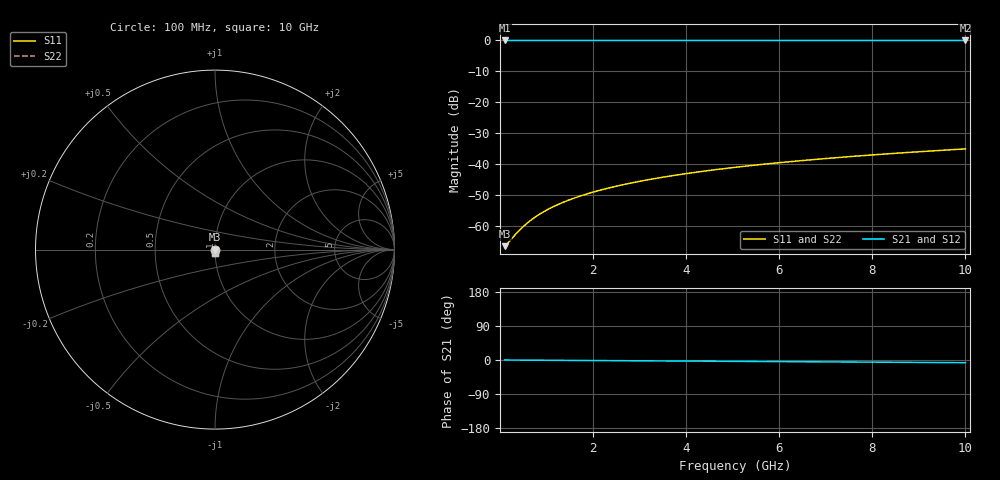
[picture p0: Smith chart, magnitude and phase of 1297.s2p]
# Hz S RI R 50.00
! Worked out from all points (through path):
!   100 points, 100 MHz to 10 GHz, reference 50 ohm
!   highest |S21| = 0.00 dB at 100 MHz (marker M1); lowest = 0.0 dB at 10 GHz (marker M2)
!   lowest |S11| = -66.4 dB at 100 MHz (marker M3), VSWR 1.00, Z = 50 - j0.0177 ohm
!   |S11| at or under -10 dB: start of sweep to end of sweep
!   |S22| runs from -66.4 to -35.0 dB; largest |S21 - S12| = 0
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1e8  0.000444 -0.000177  0.9996 -0.00123  0.9996 -0.00123  0.000444 -0.000177
2e8  0.000446 -0.000354  0.9995 -0.00246  0.9995 -0.00246  0.000446 -0.000354
4e8  0.000446 -0.000708  0.9995 -0.00491  0.9995 -0.00491  0.000446 -0.000708
5e8  0.000445 -0.000885  0.9995 -0.00614  0.9995 -0.00614  0.000445 -0.000885
6e8  0.000443 -0.00106  0.9995 -0.00737  0.9995 -0.00737  0.000443 -0.00106
7e8  0.000441 -0.00124  0.9995 -0.0086  0.9995 -0.0086  0.000441 -0.00124
8e8  0.000438 -0.00142  0.9995 -0.00982  0.9995 -0.00982  0.000438 -0.00142
1e9  0.000431 -0.00177  0.9995 -0.0123  0.9995 -0.0123  0.000431 -0.00177
1.2e9  0.000422 -0.00212  0.9994 -0.0147  0.9994 -0.0147  0.000422 -0.00212
1.5e9  0.000405 -0.00266  0.9994 -0.0184  0.9994 -0.0184  0.000405 -0.00266
1.8e9  0.000384 -0.00319  0.9993 -0.0221  0.9993 -0.0221  0.000384 -0.00319
2.1e9  0.000359 -0.00372  0.9992 -0.0258  0.9992 -0.0258  0.000359 -0.00372
2.5e9  0.000319 -0.00443  0.999 -0.0307  0.999 -0.0307  0.000319 -0.00443
2.9e9  0.000272 -0.00514  0.9989 -0.0356  0.9989 -0.0356  0.000272 -0.00514
3.4e9  0.000203 -0.00602  0.9986 -0.0418  0.9986 -0.0418  0.000203 -0.00602
4.2e9  6.94e-05 -0.00744  0.9981 -0.0516  0.9981 -0.0516  6.94e-05 -0.00744
5.1e9  -0.000114 -0.00904  0.9975 -0.0627  0.9975 -0.0627  -0.000114 -0.00904
5.9e9  -0.000307 -0.0105  0.9968 -0.0725  0.9968 -0.0725  -0.000307 -0.0105
6.7e9  -0.000529 -0.0119  0.996 -0.0823  0.996 -0.0823  -0.000529 -0.0119
7.5e9  -0.000778 -0.0133  0.9951 -0.0922  0.9951 -0.0922  -0.000778 -0.0133
8.4e9  -0.00109 -0.0149  0.994 -0.1032  0.994 -0.1032  -0.00109 -0.0149
1e10  -0.00174 -0.0177  0.9917 -0.1229  0.9917 -0.1229  -0.00174 -0.0177
